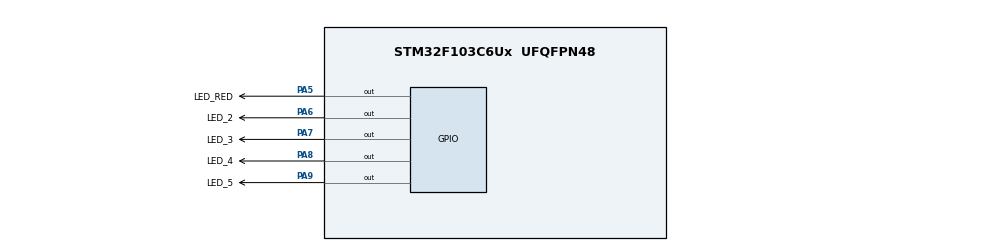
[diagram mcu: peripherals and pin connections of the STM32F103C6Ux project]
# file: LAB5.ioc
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Mcu.Family=STM32F1
Mcu.Name=STM32F103C6Ux
Mcu.Package=UFQFPN48
NVIC.PriorityGroup=NVIC_PRIORITYGROUP_4
NVIC.TIM2_IRQn=true\:0\:0\:false\:false\:true\:true\:true
PA5.GPIO_Label=LED_RED
PA5.Signal=GPIO_Output
PA6.GPIO_Label=LED_2
PA6.Signal=GPIO_Output
PA7.GPIO_Label=LED_3
PA7.Signal=GPIO_Output
PA8.GPIO_Label=LED_4
PA8.Signal=GPIO_Output
PA9.GPIO_Label=LED_5
PA9.Signal=GPIO_Output
ProjectManager.HeapSize=0x200
ProjectManager.StackSize=0x400
ProjectManager.TargetToolchain=STM32CubeIDE
RCC.APB1Freq_Value=8000000
RCC.APB2Freq_Value=8000000
TIM2.Period=9
TIM2.Prescaler=7999
VP_SYS_VS_ND.Mode=No_Debug
VP_TIM2_VS_ClockSourceINT.Mode=Internal
board=custom

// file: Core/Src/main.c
/* USER CODE BEGIN Header */
/**
  ******************************************************************************
  * @file           : main.c
  * @brief          : Main program body
  ******************************************************************************
  * @attention
  *
  * <h2><center>&copy; Copyright (c) 2025 STMicroelectronics.
  * All rights reserved.</center></h2>
  *
  * This software component is licensed by ST under BSD 3-Clause license,
  * the "License"; You may not use this file except in compliance with the
  * License. You may obtain a copy of the License at:
  *                        opensource.org/licenses/BSD-3-Clause
  *
  ******************************************************************************
  */
/* USER CODE END Header */
#include "main.h"

/* USER CODE BEGIN Includes */
#include "scheduler.h"
/* USER CODE END Includes */

TIM_HandleTypeDef htim2;

void SystemClock_Config(void);
static void MX_GPIO_Init(void);
static void MX_TIM2_Init(void);

/* USER CODE BEGIN 0 */
void ledtest1(){
	HAL_GPIO_TogglePin(LED_RED_GPIO_Port, LED_RED_Pin);
}

void ledtest2(){
	HAL_GPIO_TogglePin(LED_2_GPIO_Port, LED_2_Pin);
}

void ledtest3(){
	HAL_GPIO_TogglePin(LED_3_GPIO_Port, LED_3_Pin);
}

void ledtest4(){
	HAL_GPIO_TogglePin(LED_4_GPIO_Port, LED_4_Pin);
}

void ledtest5(){
	HAL_GPIO_TogglePin(LED_5_GPIO_Port, LED_5_Pin);
}
/* USER CODE END 0 */

int main(void)
{

  /* MCU Configuration--------------------------------------------------------*/

  /* Reset of all peripherals, Initializes the Flash interface and the Systick. */
  HAL_Init();

  /* Configure the system clock */
  SystemClock_Config();

  /* Initialize all configured peripherals */
  MX_GPIO_Init();
  MX_TIM2_Init();
  /* USER CODE BEGIN 2 */
  HAL_TIM_Base_Start_IT(&htim2);
  /* USER CODE END 2 */

  /* Infinite loop */
  /* USER CODE BEGIN WHILE */
  SCH_Init();
  SCH_Add_Task(ledtest5, 250, 0);
  SCH_Add_Task(ledtest1, 50, 50);
  SCH_Add_Task(ledtest2, 100, 100);
  SCH_Add_Task(ledtest4, 200, 200);
  SCH_Add_Task(ledtest3, 150, 150);

  while (1)
  {
	  SCH_Dispatch_Tasks();
    /* USER CODE END WHILE */

  }
}

void SystemClock_Config(void)
{
  RCC_OscInitTypeDef RCC_OscInitStruct = {0};
  RCC_ClkInitTypeDef RCC_ClkInitStruct = {0};

  /** Initializes the RCC Oscillators according to the specified parameters
  * in the RCC_OscInitTypeDef structure.
  */
  RCC_OscInitStruct.OscillatorType = RCC_OSCILLATORTYPE_HSI;
  RCC_OscInitStruct.HSIState = RCC_HSI_ON;
  RCC_OscInitStruct.HSICalibrationValue = RCC_HSICALIBRATION_DEFAULT;
  RCC_OscInitStruct.PLL.PLLState = RCC_PLL_NONE;
  if (HAL_RCC_OscConfig(&RCC_OscInitStruct) != HAL_OK)
  {
    Error_Handler();
  }
  /** Initializes the CPU, AHB and APB buses clocks
  */
  RCC_ClkInitStruct.ClockType = RCC_CLOCKTYPE_HCLK|RCC_CLOCKTYPE_SYSCLK
                              |RCC_CLOCKTYPE_PCLK1|RCC_CLOCKTYPE_PCLK2;
  RCC_ClkInitStruct.SYSCLKSource = RCC_SYSCLKSOURCE_HSI;
  RCC_ClkInitStruct.AHBCLKDivider = RCC_SYSCLK_DIV1;
  RCC_ClkInitStruct.APB1CLKDivider = RCC_HCLK_DIV1;
  RCC_ClkInitStruct.APB2CLKDivider = RCC_HCLK_DIV1;

  if (HAL_RCC_ClockConfig(&RCC_ClkInitStruct, FLASH_LATENCY_0) != HAL_OK)
  {
    Error_Handler();
  }
}

static void MX_TIM2_Init(void)
{

  TIM_ClockConfigTypeDef sClockSourceConfig = {0};
  TIM_MasterConfigTypeDef sMasterConfig = {0};

  htim2.Instance = TIM2;
  htim2.Init.Prescaler = 7999;
  htim2.Init.CounterMode = TIM_COUNTERMODE_UP;
  htim2.Init.Period = 9;
  htim2.Init.ClockDivision = TIM_CLOCKDIVISION_DIV1;
  htim2.Init.AutoReloadPreload = TIM_AUTORELOAD_PRELOAD_DISABLE;
  if (HAL_TIM_Base_Init(&htim2) != HAL_OK)
  {
    Error_Handler();
  }
  sClockSourceConfig.ClockSource = TIM_CLOCKSOURCE_INTERNAL;
  if (HAL_TIM_ConfigClockSource(&htim2, &sClockSourceConfig) != HAL_OK)
  {
    Error_Handler();
  }
  sMasterConfig.MasterOutputTrigger = TIM_TRGO_RESET;
  sMasterConfig.MasterSlaveMode = TIM_MASTERSLAVEMODE_DISABLE;
  if (HAL_TIMEx_MasterConfigSynchronization(&htim2, &sMasterConfig) != HAL_OK)
  {
    Error_Handler();
  }

}

static void MX_GPIO_Init(void)
{
  GPIO_InitTypeDef GPIO_InitStruct = {0};

  /* GPIO Ports Clock Enable */
  __HAL_RCC_GPIOA_CLK_ENABLE();

  /*Configure GPIO pin Output Level */
  HAL_GPIO_WritePin(GPIOA, LED_RED_Pin|LED_2_Pin|LED_3_Pin|LED_4_Pin
                          |LED_5_Pin, GPIO_PIN_RESET);

  /*Configure GPIO pins : LED_RED_Pin LED_2_Pin LED_3_Pin LED_4_Pin
                           LED_5_Pin */
  GPIO_InitStruct.Pin = LED_RED_Pin|LED_2_Pin|LED_3_Pin|LED_4_Pin
                          |LED_5_Pin;
  GPIO_InitStruct.Mode = GPIO_MODE_OUTPUT_PP;
  GPIO_InitStruct.Pull = GPIO_NOPULL;
  GPIO_InitStruct.Speed = GPIO_SPEED_FREQ_LOW;
  HAL_GPIO_Init(GPIOA, &GPIO_InitStruct);

}

/* USER CODE BEGIN 4 */
void HAL_TIM_PeriodElapsedCallback(TIM_HandleTypeDef *htim){
	SCH_Update();
}
/* USER CODE END 4 */

void Error_Handler(void)
{
  __disable_irq();
  while (1)
  {
  }
}

/************************ (C) COPYRIGHT STMicroelectronics *****END OF FILE****/
